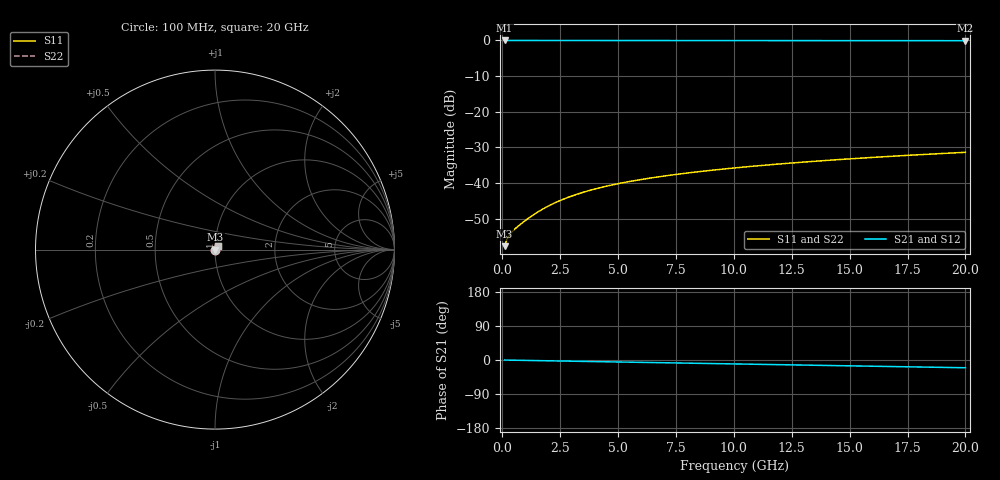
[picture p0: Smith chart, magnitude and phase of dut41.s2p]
! Touchstone file exported from HFSS 2026.1.0
!  File:  C:/ffzhzh/LocalFiles/Ansys_Project_Files/temp_train_BSMRDL_41_1782882355_42304.aedt
!  Generated:  01:07:05 PM Jul  1, 2026
!  Design:  BSMRDL
!  Project:  temp_train_BSMRDL_41_1782882355_42304
! Variables:
!  h_bsmrdl = 4.63um
!  h_ox = 20um
!  h_rdl = 5um
!  h_sub = 80um
!  h_tmrdl = 5um
!  h_tsv = 80um
!  h_via = 3um
!  l_bsmrdl = 352.59um
!  l_sub = 752.59um
!  l_tmrdl = 200um
!  m_sub = 200um
!  pitch = 34.63um
!  r_tsv = 6um
!  s_tmrdl = 10um
!  w_bsmrdl = 28.33um
!  w_sub = 500um
!  w_tmrdl = 12um
!  x_tsv_center1 = 206um
!  x_tsv_center2 = 586.92um
!  x_tsv_center3 = 798.92um
!  x_tsv_center4 = 1179.84um
!  x_tsv_center5 = 1391.84um
!  x_tsv_center6 = 1772.76um
# GHz S MA R 50.000000
! Terminal data exported
! Port[1] = BSM_RDL1_1_T1
! Port[2] = BSM_RDL1_1_T2
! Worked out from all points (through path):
!   200 points, 100 MHz to 20 GHz, reference 50 ohm
!   highest |S21| = -0.01 dB at 100 MHz (marker M1); lowest = -0.1 dB at 20 GHz (marker M2)
!   group delay of S21, straight-line fit = 2.83 ps
!   lowest |S11| = -57.7 dB at 100 MHz (marker M3), VSWR 1.00, Z = 50.1 + j0.0474 ohm
!   |S11| at or under -10 dB: start of sweep to end of sweep
!   |S22| runs from -57.7 to -31.4 dB; largest |S21 - S12| = 2e-15
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0.1  0.001305 21.2  0.9988 -0.1  0.9988 -0.1  0.001305 21.2
! Gamma 0 0 0 0
! Port Impedance 50 0 50 0
0.2  0.001619 29.0  0.9986 -0.2  0.9986 -0.2  0.001619 29.0
0.3  0.001862 32.2  0.9984 -0.3  0.9984 -0.3  0.001862 32.2
0.4  0.002048 34.7  0.9983 -0.4  0.9983 -0.4  0.002048 34.7
0.6  0.002361 39.7  0.9982 -0.7  0.9982 -0.7  0.002361 39.7
0.8  0.00267 44.4  0.9981 -0.9  0.9981 -0.9  0.002669 44.4
1.3  0.003512 52.7  0.9979 -1.4  0.9979 -1.4  0.003512 52.7
1.5  0.003871 54.9  0.9978 -1.6  0.9978 -1.6  0.003871 54.9
1.8  0.004419 57.3  0.9977 -1.9  0.9977 -1.9  0.004419 57.3
2.3  0.005336 59.6  0.9975 -2.5  0.9975 -2.5  0.005336 59.6
2.9  0.006412 60.8  0.9972 -3.1  0.9972 -3.1  0.006412 60.8
3.5  0.007443 61.2  0.9968 -3.7  0.9968 -3.7  0.007443 61.2
4.2  0.008582 61.1  0.9964 -4.4  0.9964 -4.4  0.008581 61.1
5  0.009803 60.7  0.996 -5.3  0.996 -5.3  0.009803 60.7
5.8  0.01095 60.2  0.9955 -6.1  0.9955 -6.1  0.01095 60.2
6.8  0.01231 59.5  0.995 -7.1  0.995 -7.1  0.01231 59.5
8.3  0.01422 58.5  0.9944 -8.6  0.9944 -8.6  0.01422 58.6
10.1  0.01639 57.4  0.9937 -10.5  0.9937 -10.5  0.01639 57.4
11.7  0.01823 56.4  0.9931 -12.1  0.9931 -12.1  0.01823 56.4
13.4  0.02013 55.2  0.9926 -13.8  0.9926 -13.8  0.02012 55.3
16.7  0.02365 52.9  0.9916 -17.2  0.9916 -17.2  0.02364 53.0
20  0.02698 50.4  0.9907 -20.5  0.9907 -20.5  0.02698 50.5
